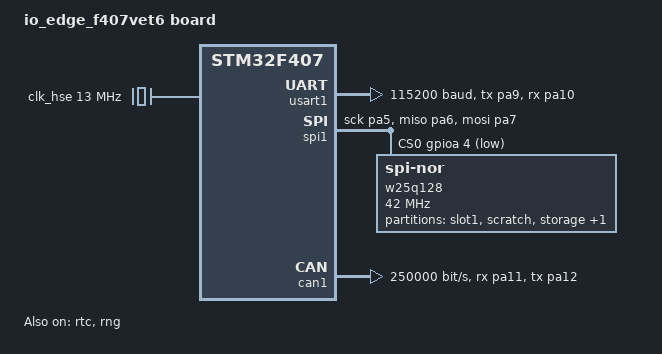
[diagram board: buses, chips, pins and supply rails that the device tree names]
/*
 * Copyright (c) 2026 Kabirz.
 * SPDX-License-Identifier: Apache-2.0
 *
 * io_edge_f407vet6 board - LCKFB STM32F407VET6
 *   Cortex-M4 @ 168MHz, 512KB Flash, 192KB RAM (128KB SRAM + 64KB CCM)
 *
 * 板 DTS 仅包含 MCUboot bootloader 与应用共需的硬件:
 *   - HSE 13MHz 外部晶振 -> PLL 168MHz
 *   - USART1 控制台 (PA9/PA10)
 *   - 内部 Flash 分区 (mcuboot 64KB + slot0 448KB)
 *   - SPI1 + W25Q128 外部 Flash 分区 (slot1/scratch/storage/littlefs)
 *     ※ slot1/scratch 必须在板 DTS: bootloader 独立编译, 不含应用 overlay,
 *       分区放此才能被 MCUboot 找到 (参考 n2e-gw/nrf24_f103rct6 实践)。
 * 应用专属外设 (W5500/ADC/CAN/DI/DO/LED/RS485/IWDG) 见应用 overlay。
 */

/dts-v1/;
#include <st/f4/stm32f407Xe.dtsi>
#include <st/f4/stm32f407v(e-g)tx-pinctrl.dtsi>

/ {
	model = "io_edge_f407vet6 board";
	compatible = "st,stm32f407";

	chosen {
		zephyr,console = &usart1;
		zephyr,shell-uart = &usart1;
		zephyr,sram = &sram0;
		zephyr,dtcm = &ccm0;
		zephyr,flash = &flash0;
		zephyr,code-partition = &slot0_partition;
		zephyr,canbus = &can1;
	};
};

&clk_lsi {
	status = "okay";
};

&clk_lse {
	status = "okay";
};

/* LSE 外部 32.768kHz 晶振 (PC14/PC15) */
&rtc {
	clocks = <&rcc STM32_CLOCK(APB1, 28)>,
		 <&rcc STM32_SRC_LSE RTC_SEL(1)>;
	status = "okay";
};

/* HSE 外部 13MHz 晶振 (PH0/PH1) */
&clk_hse {
	clock-frequency = <DT_FREQ_M(13)>;
	status = "okay";
};

/* PLL: 13MHz / 13(M) = 1MHz * 336(N) = 336MHz / 2(P) = 168MHz SYSCLK */
&pll {
	div-m = <13>;
	mul-n = <336>;
	div-p = <2>;
	div-q = <7>;	/* USB OTG = 48MHz */
	clocks = <&clk_hse>;
	status = "okay";
};

&rcc {
	clocks = <&pll>;
	clock-frequency = <DT_FREQ_M(168)>;	/* HCLK = 168MHz */
	ahb-prescaler = <1>;
	apb1-prescaler = <4>;		/* PCLK1 = 42MHz */
	apb2-prescaler = <2>;		/* PCLK2 = 84MHz */
};

&usart1 {
	pinctrl-0 = <&usart1_tx_pa9 &usart1_rx_pa10>;
	pinctrl-names = "default";
	current-speed = <115200>;
	status = "okay";
};

/* 内部 Flash: MCUboot (64KB) + Primary Slot (448KB) */
&flash0 {
	partitions {
		compatible = "fixed-partitions";
		#address-cells = <1>;
		#size-cells = <1>;

		boot_partition: partition@0 {
			label = "mcuboot";
			reg = <0x00000000 0x00010000>;	/* 64KB */
			read-only;
		};

		slot0_partition: partition@10000 {
			label = "slot0";
			reg = <0x00010000 0x00070000>;	/* 448KB */
		};
	};
};

/* SPI1: W25Q128 外部 Flash (16MB)
 *   Secondary Slot (448KB) + Scratch (448KB, SWAP_SCRATCH) + Settings (64KB, FCB)
 *   + LittleFS (~15MB, 历史记录)
 * PA4=CS, PA5=SCK, PA6=MISO, PA7=MOSI
 */
&spi1 {
	pinctrl-0 = <&spi1_sck_pa5 &spi1_miso_pa6 &spi1_mosi_pa7>;
	pinctrl-names = "default";
	cs-gpios = <&gpioa 4 (GPIO_ACTIVE_LOW | GPIO_PULL_UP)>;
	status = "okay";

	w25q128: w25q128@0 {
		compatible = "jedec,spi-nor";
		reg = <0>;
		spi-max-frequency = <42000000>;
		jedec-id = [ef 40 18];	/* Winbond W25Q128 */
		size = <0x8000000>;	/* 128 Mbit = 16MB */
		status = "okay";

		partitions {
			compatible = "fixed-partitions";
			#address-cells = <1>;
			#size-cells = <1>;

			/* MCUboot Secondary Slot (升级镜像暂存) */
			slot1_partition: partition@0 {
				label = "slot1";
				reg = <0x000000 0x070000>;	/* 448KB */
			};

			/* MCUboot Scratch (SWAP_SCRATCH 交换暂存) */
			scratch_partition: partition@70000 {
				label = "scratch";
				reg = <0x070000 0x070000>;	/* 448KB */
			};

			/* Settings Storage (FCB, 设备参数持久化) */
			storage_partition: partition@e0000 {
				label = "storage";
				reg = <0x0e0000 0x010000>;	/* 64KB */
			};

			/* LittleFS (IO 历史记录文件) */
			littlefs_partition: partition@f0000 {
				label = "littlefs";
				reg = <0x0f0000 0xf10000>;	/* ~15MB */
			};
		};
	};
};

/* ============================================================
 * RNG: STM32 硬件随机数发生器 (网络栈 CSPRNG 熵源)
 * ============================================================ */
&rng {
	status = "okay";
};

/* ============================================================
 * CAN1: CAN 总线 + CAN 固件升级 (RX=PA11, TX=PA12)
 * 放板 DTS 供 MCUboot 与应用共享 (未来 MCUboot 可能用 CAN)
 * ============================================================ */
&can1 {
	pinctrl-0 = <&can1_rx_pa11 &can1_tx_pa12>;
	pinctrl-names = "default";
	bitrate = <250000>;
	sample-point = <875>;
	status = "okay";
};
